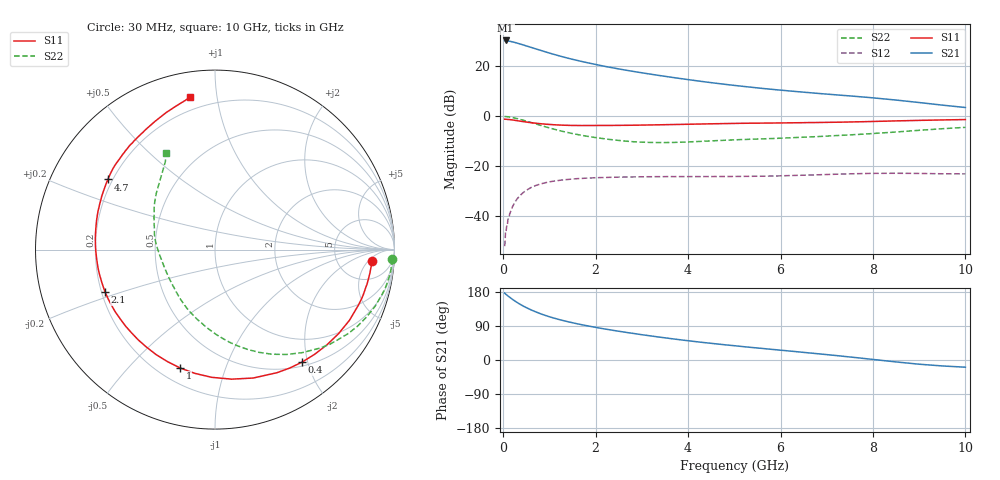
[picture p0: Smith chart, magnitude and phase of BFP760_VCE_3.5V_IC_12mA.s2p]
! Infineon Technologies  Discrete & RF Semiconductors
! BFP760
! VCE =  3.5 V,  IC =  12 mA
! Common Emitter S-Parameters:  Nov 2012
# GHz  S  MA  R  50
!  f  S11  S21  S12  S22
! GHz  MAG  ANG  MAG  ANG  MAG  ANG  MAG  ANG
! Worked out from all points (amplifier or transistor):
!   99 points, 30 MHz to 10 GHz, reference 50 ohm
!   highest |S21| = 30.4 dB at 50 MHz (marker M1)
!   |S21| within 3 dB of that: start of sweep to 641.3 MHz
!   unconditionally stable (mu >= 1): 5.28 GHz to end of sweep
!   at 350 MHz: K = 0.15, MSG = 30.6 dB, |S12| = -32.0 dB
!   at 3.5 GHz: K = 0.74, MSG = 20.1 dB, |S12| = -24.2 dB
!   at 10 GHz: K = 1.14, MAG = 11.0 dB, |S12| = -23.1 dB
!   S11 on the Smith chart (normalised r, x): 30 MHz: 11, -6; 400 MHz: 0.56, -1.90; 1 GHz: 0.28, -0.71; 2.1 GHz: 0.21, -0.18; 4.7 GHz: 0.18, +0.29; 10 GHz: 0.13, +0.84
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0.03  0.8759 -4.3  32.8 176.6  0.0025 84.0  0.9899 -3.1
0.04  0.8756 -5.7  32.8 175.7  0.003 84.6  0.9889 -4.1
0.05  0.8739 -7.2  33.16 174.1  0.0049 66.4  0.9881 -5.0
0.13  0.8618 -18.3  32.09 166.4  0.01 78.4  0.9719 -12.9
0.2  0.8464 -27.7  31.02 160.1  0.0154 74.1  0.9467 -19.4
0.3  0.8189 -40.3  29.35 151.9  0.0221 67.7  0.9024 -28.1
0.4  0.7925 -52.3  27.59 144.6  0.0279 62.0  0.8513 -35.9
0.5  0.768 -63.2  25.79 138.2  0.0329 56.9  0.8016 -43.2
0.6  0.7466 -73.4  24.14 132.4  0.0374 52.4  0.7527 -49.7
0.8  0.7118 -91.5  21.14 122.4  0.0439 44.9  0.6632 -61.5
1  0.6875 -106.5  18.54 114.1  0.0487 38.7  0.5858 -71.8
1.3  0.6642 -124.9  15.48 104.0  0.0533 31.9  0.4958 -85.2
1.5  0.6568 -135.1  13.88 98.3  0.0554 28.6  0.4512 -93.1
1.7  0.6542 -143.9  12.57 93.1  0.057 25.8  0.415 -100.5
2.1  0.656 -158.7  10.47 83.9  0.0592 21.3  0.3642 -115.0
2.7  0.6617 -176.1  8.277 72.1  0.0609 16.7  0.3158 -134.6
3.4  0.677 167.8  6.535 60.1  0.0618 13.3  0.2983 -156.5
4.7  0.7133 146.8  4.492 41.4  0.0622 10.5  0.3285 174.9
5.1  0.7235 142.5  4.071 36.5  0.0625 10.3  0.3407 169.3
6.7  0.7509 128.7  2.94 17.8  0.0669 10.1  0.3893 150.7
8.5  0.8102 109.7  2.12 -5.1  0.0723 4.2  0.4849 129.8
10  0.8614 99.3  1.502 -19.0  0.0703 2.1  0.6017 117.1
